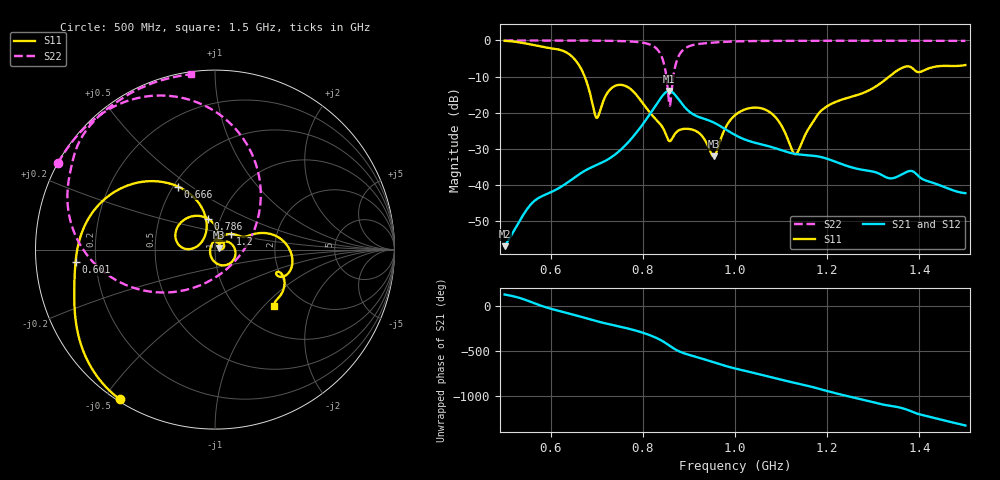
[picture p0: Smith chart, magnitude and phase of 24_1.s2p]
! TOUCHSTONE file generated by CST MICROWAVE STUDIO
! Date and time: Mon Oct 26 12:08:06 2020
! Project name: Scenario_1_Circular_Tissue_out_of_Line_v2.cst
! Parameters = {dy1=51.9; L_HA=400; MT=2.54; Rad_Dielectric=30; Rad_Lower=7.3; Rad_Upper=30; a_HA=580; a_WG=246; b_HA=500; b_WG=121; c_HA=0; c_WG=187; d_feed=85; dx1=173; h_feed=15; h_lower=18; h_upper=40}
! Header version: 2018
! Port assignment regex: !\s*Touchstone port\s*([0-9]+)\s*=\s*(CST MWS port|CST DS port)\s*([0-9]+|Zmin|Zmax)\s*\(\"(.*)\"\)(\s*mode\s*([0-9]+))?.*
! Touchstone port assignment:
! Touchstone port 1 = CST MWS port 1 ("")
! Touchstone port 2 = CST MWS port 2 ("")
# GHz S DB R 50
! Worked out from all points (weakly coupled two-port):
!   1003 points, 500 MHz to 1.5 GHz, reference 50 ohm
!   highest |S21| = -13.94 dB at 857 MHz (marker M1); lowest = -56.8 dB at 500 MHz (marker M2)
!   lowest |S11| = -32.0 dB at 954 MHz (marker M3), VSWR 1.05, Z = 52.3 + j1.15 ohm
!   |S11| at or under -10 dB: 673.8 MHz to 1.335 GHz (660.7 MHz wide, 65.8 % of centre)
!   |S22| runs from -18.0 to 0.0 dB; largest |S21 - S12| = 4.9e-05
!   S11 on the Smith chart (normalised r, x): 500 MHz: 0.01, -0.55; 601 MHz: 0.12, -0.04; 666 MHz: 0.53, +0.45; 786 MHz: 0.87, +0.31; 1.2 GHz: 1.17, +0.21; 1.5 GHz: 1.44, -1.15
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0.5  -0.10 -122.6  -56.83 129.6  -56.83 129.6  -0.01 151.1
0.556  -1.10 -151.2  -45.42 50.0  -45.42 50.0  -0.01 147.3
0.601  -2.16 -174.9  -41.88 -29.0  -41.88 -29.0  -0.02 144.0
0.666  -7.84 120.3  -36.62 -118.1  -36.62 -118.1  -0.04 138.5
0.667  -8.08 119.2  -36.54 -119.6  -36.54 -119.6  -0.04 138.4
0.7  -21.40 145.0  -34.39 -166.8  -34.39 -166.8  -0.07 134.9
0.738  -12.66 161.4  -31.69 147.7  -31.69 147.7  -0.13 129.6
0.786  -15.04 103.1  -25.47 87.6  -25.47 87.6  -0.41 118.6
0.834  -22.53 70.7  -16.81 -3.0  -16.81 -3.0  -2.87 84.2
0.847  -25.04 61.4  -14.65 -40.5  -14.65 -40.5  -7.10 55.2
0.857  -27.78 69.4  -13.94 -74.8  -13.94 -74.8  -17.23 -17.5
0.868  -26.09 79.6  -14.75 -111.8  -14.75 -111.8  -8.52 -140.4
0.888  -24.44 57.8  -18.00 -159.4  -18.00 -159.4  -2.54 178.5
0.954  -32.02 26.0  -22.68 96.8  -22.68 96.8  -0.59 148.0
1  -20.65 23.2  -26.10 29.5  -26.10 29.5  -0.27 140.5
1.073  -19.60 -55.7  -29.22 -60.7  -29.22 -60.7  -0.14 132.2
1.131  -31.43 170.1  -31.35 -131.0  -31.35 -131.0  -0.11 127.0
1.167  -22.98 71.2  -31.79 -175.1  -31.79 -175.1  -0.11 124.2
1.2  -18.18 44.8  -32.69 139.3  -32.69 139.4  -0.10 121.7
1.334  -10.05 16.5  -38.05 -22.4  -38.05 -22.4  -0.08 111.5
1.383  -7.47 -19.3  -36.06 -87.3  -36.06 -87.3  -0.09 107.7
1.5  -6.80 -43.7  -42.18 117.2  -42.20 117.5  -0.12 97.9
